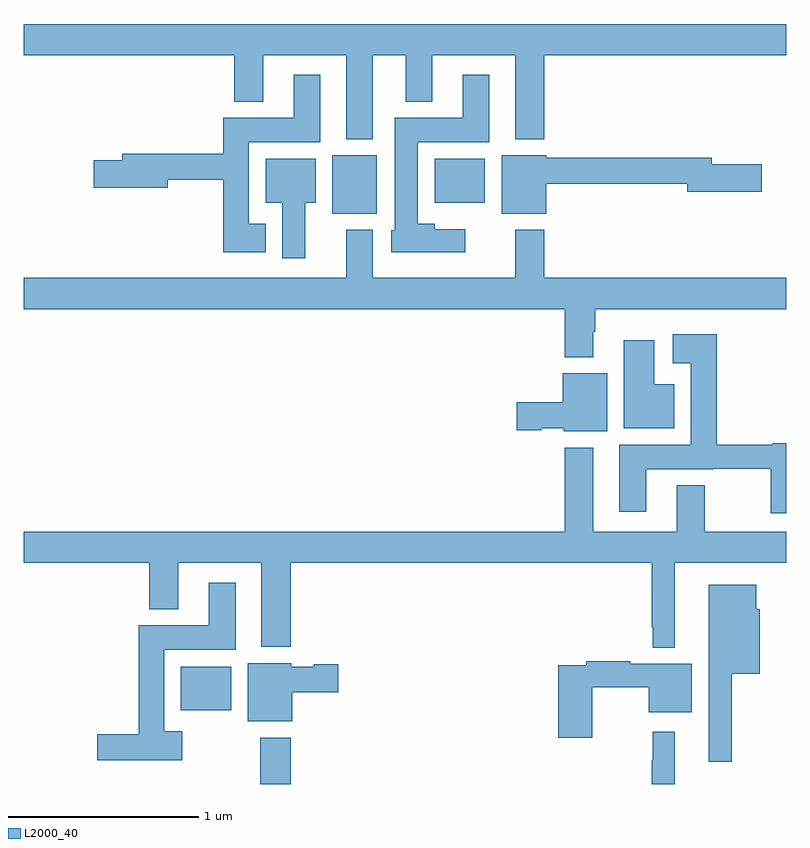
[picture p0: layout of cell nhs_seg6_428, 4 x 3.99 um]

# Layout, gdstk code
import gdstk
lib = gdstk.Library(unit=1e-6, precision=1e-09)
def R(c, l, rs):  # rectangles x0, y0, x1, y1
    for r in rs: c.add(gdstk.rectangle(r[:2], r[2:], *l))
def P(c, l, *ps):  # polygons
    for p in ps: c.add(gdstk.Polygon(p, *l))
L2000_40 = (2000, 40)

nhs_seg6_428 = lib.new_cell('nhs_seg6_428')
R(nhs_seg6_428, L2000_40, [(136.24,955.5,136.4,955.744), (135.824,955.886,136.087,956.116), (136.619,958.493,136.852,958.798), (137.156,958.55,137.419,958.78)])
P(nhs_seg6_428, L2000_40, [(136.831,959.324),(137.003,959.324),(137.003,959.081),(137.143,959.081),(137.143,959.324),(137.579,959.324),(137.579,958.883),(137.732,958.883),(137.732,959.324),(139,959.324),(139,959.488),(135,959.488),(135,959.324),(136.103,959.324),(136.103,959.081),(136.255,959.081),(136.255,959.324),(136.691,959.324),(136.691,958.883),(136.831,958.883)],
  [(136.27,958.441),(136.18,958.441),(136.18,958.868),(136.555,958.868),(136.555,959.221),(136.415,959.221),(136.415,958.996),(136.046,958.996),(136.046,958.808),(135.515,958.808),(135.515,958.772),(135.366,958.772),(135.366,958.63),(135.754,958.63),(135.754,958.672),(136.046,958.672),(136.046,958.289),(136.27,958.289)],
  [(137.317,958.411),(137.155,958.411),(137.155,958.441),(137.068,958.441),(137.068,958.868),(137.443,958.868),(137.443,959.221),(137.303,959.221),(137.303,958.996),(136.946,958.996),(136.946,958.407),(136.928,958.407),(136.928,958.289),(137.317,958.289)],
  [(137.74,958.651),(138.482,958.651),(138.482,958.609),(138.871,958.609),(138.871,958.751),(138.61,958.751),(138.61,958.787),(137.74,958.787),(137.74,958.798),(137.507,958.798),(137.507,958.493),(137.74,958.493)],
  [(136.477,958.55),(136.531,958.55),(136.531,958.78),(136.268,958.78),(136.268,958.55),(136.355,958.55),(136.355,958.26),(136.477,958.26)],
  [(137.989,957.872),(137.997,957.872),(137.997,957.992),(139,957.992),(139,958.156),(137.732,958.156),(137.732,958.408),(137.579,958.408),(137.579,958.156),(136.831,958.156),(136.831,958.408),(136.691,958.408),(136.691,958.156),(135,958.156),(135,957.992),(137.837,957.992),(137.837,957.74),(137.989,957.74)],
  [(139,957.289),(138.93,957.289),(138.93,957.281),(138.635,957.281),(138.635,957.859),(138.405,957.859),(138.405,957.707),(138.5,957.707),(138.5,957.28),(138.125,957.28),(138.125,956.928),(138.265,956.928),(138.265,957.152),(138.618,957.152),(138.618,957.153),(138.919,957.153),(138.919,956.922),(139,956.922)],
  [(138.412,957.598),(138.307,957.598),(138.307,957.829),(138.149,957.829),(138.149,957.368),(138.412,957.368)],
  [(138.061,957.655),(137.828,957.655),(137.828,957.503),(137.586,957.503),(137.586,957.356),(137.715,957.356),(137.715,957.368),(137.832,957.368),(137.832,957.35),(138.061,957.35)],
  [(138.415,956.66),(139,956.66),(139,956.824),(138.573,956.824),(138.573,957.067),(138.425,957.067),(138.425,956.824),(137.989,956.824),(137.989,957.265),(137.837,957.265),(137.837,956.824),(135,956.824),(135,956.66),(135.659,956.66),(135.659,956.417),(135.811,956.417),(135.811,956.66),(136.247,956.66),(136.247,956.219),(136.4,956.219),(136.4,956.66),(138.294,956.66),(138.294,956.323),(138.3,956.323),(138.3,956.216),(138.415,956.216)],
  [(135.832,955.777),(135.736,955.777),(135.736,956.204),(136.111,956.204),(136.111,956.557),(135.971,956.557),(135.971,956.332),(135.602,956.332),(135.602,955.76),(135.384,955.76),(135.384,955.625),(135.832,955.625)],
  [(138.715,956.078),(138.862,956.078),(138.862,956.418),(138.844,956.418),(138.844,956.545),(138.593,956.545),(138.593,955.617),(138.715,955.617)],
  [(137.982,956.008),(138.278,956.008),(138.278,955.877),(138.505,955.877),(138.505,956.131),(138.182,956.131),(138.182,956.144),(137.95,956.144),(137.95,956.124),(137.804,956.124),(137.804,955.743),(137.982,955.743)],
  [(136.408,955.982),(136.651,955.982),(136.651,956.129),(136.521,956.129),(136.521,956.116),(136.404,956.116),(136.404,956.134),(136.175,956.134),(136.175,955.829),(136.408,955.829)],
  [(138.415,955.774),(138.301,955.774),(138.301,955.625),(138.294,955.625),(138.294,955.5),(138.415,955.5)])

lib.write_gds('nhs_seg6_428.gds')
